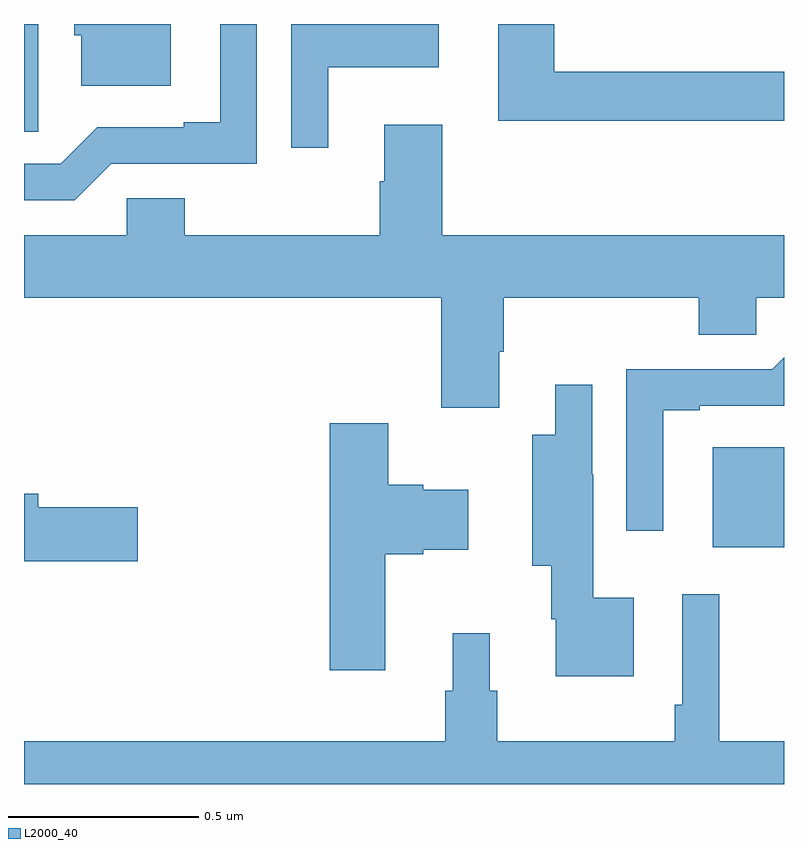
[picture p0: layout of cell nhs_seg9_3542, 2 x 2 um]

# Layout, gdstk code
import gdstk
lib = gdstk.Library(unit=1e-6, precision=1e-09)
def R(c, l, rs):  # rectangles x0, y0, x1, y1
    for r in rs: c.add(gdstk.rectangle(r[:2], r[2:], *l))
def P(c, l, *ps):  # polygons
    for p in ps: c.add(gdstk.Polygon(p, *l))
L2000_40 = (2000, 40)

nhs_seg9_3542 = lib.new_cell('nhs_seg9_3542')
R(nhs_seg9_3542, L2000_40, [(156.812,1169.123,157,1169.386)])
P(nhs_seg9_3542, L2000_40, [(155.037,1170.328),(155.038,1170.328),(155.038,1170.5),(155,1170.5),(155,1170.217),(155.037,1170.217)],
  [(155.386,1170.5),(155.132,1170.5),(155.132,1170.471),(155.15,1170.471),(155.15,1170.338),(155.386,1170.338)],
  [(155.8,1170.386),(156.091,1170.386),(156.091,1170.5),(155.703,1170.5),(155.703,1170.174),(155.8,1170.174)],
  [(157,1170.374),(156.395,1170.374),(156.395,1170.5),(156.248,1170.5),(156.248,1170.246),(157,1170.246)],
  [(155.229,1170.132),(155.613,1170.132),(155.613,1170.5),(155.516,1170.5),(155.516,1170.241),(155.42,1170.241),(155.42,1170.228),(155.193,1170.228),(155.097,1170.132),(155,1170.132),(155,1170.036),(155.133,1170.036)],
  [(156.25,1169.638),(156.263,1169.638),(156.263,1169.78),(156.776,1169.78),(156.776,1169.682),(156.927,1169.682),(156.927,1169.78),(157,1169.78),(157,1169.944),(156.101,1169.944),(156.101,1170.235),(155.948,1170.235),(155.948,1170.086),(155.936,1170.086),(155.936,1169.944),(155.423,1169.944),(155.423,1170.042),(155.271,1170.042),(155.271,1169.944),(155,1169.944),(155,1169.78),(156.098,1169.78),(156.098,1169.49),(156.25,1169.49)],
  [(156.682,1169.484),(156.778,1169.484),(156.778,1169.496),(157,1169.496),(157,1169.623),(156.969,1169.592),(156.585,1169.592),(156.585,1169.166),(156.682,1169.166)],
  [(156.604,1168.99),(156.498,1168.99),(156.498,1169.315),(156.496,1169.315),(156.496,1169.551),(156.398,1169.551),(156.398,1169.419),(156.338,1169.419),(156.338,1169.075),(156.387,1169.075),(156.387,1168.934),(156.399,1168.934),(156.399,1168.784),(156.604,1168.784)],
  [(155.95,1169.105),(156.051,1169.105),(156.051,1169.117),(156.169,1169.117),(156.169,1169.275),(156.051,1169.275),(156.051,1169.288),(155.958,1169.288),(155.958,1169.449),(155.804,1169.449),(155.804,1168.8),(155.95,1168.8)],
  [(155.299,1169.228),(155.038,1169.228),(155.038,1169.264),(155,1169.264),(155,1169.086),(155.299,1169.086)],
  [(157,1168.612),(156.83,1168.612),(156.83,1168.999),(156.732,1168.999),(156.732,1168.708),(156.712,1168.708),(156.712,1168.612),(156.245,1168.612),(156.245,1168.746),(156.226,1168.746),(156.226,1168.897),(156.128,1168.897),(156.128,1168.746),(156.109,1168.746),(156.109,1168.612),(155,1168.612),(155,1168.5),(157,1168.5)])

lib.write_gds('nhs_seg9_3542.gds')
